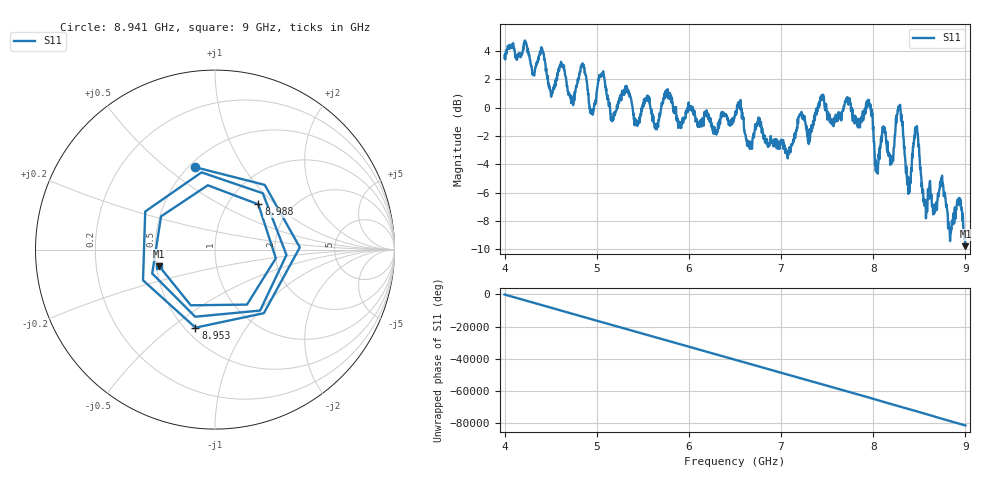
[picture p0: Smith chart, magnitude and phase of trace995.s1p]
! Created with skrf 1.8.0 (http://scikit-rf.org).
# Hz S RI R 50.0
!freq ReS11 ImS11
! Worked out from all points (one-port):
!   1601 points, 4 GHz to 9 GHz, reference 50 ohm
!   lowest |S11| = -9.8 dB at 9 GHz (marker M1), VSWR 1.96, Z = 25.9 - j5.35 ohm
!   |S11| at or under -10 dB: nowhere
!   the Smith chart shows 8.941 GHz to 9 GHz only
!   S11 on the Smith chart (normalised r, x): 8.941 GHz: 0.53, +0.63; 8.953 GHz: 0.56, -0.61; 8.988 GHz: 1.37, +0.79; 9 GHz: 0.52, -0.11
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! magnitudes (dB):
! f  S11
! 4 GHz  3.5
! 4.403 GHz  4.1
! 4.512 GHz  1.0
! 4.625 GHz  3.0
! 4.731 GHz  0.5
! 4.853 GHz  2.9
! 4.944 GHz  -0.4
! 5.05 GHz  2.4
! 5.169 GHz  -1.0
! 5.25 GHz  0.6
! 5.875 GHz  -0.9
! 6.5 GHz  -0.6
! 7.125 GHz  -2.6
! 7.438 GHz  0.7
! 7.75 GHz  0.3
! 7.966 GHz  0.0
! 8.044 GHz  -4.5
! 8.109 GHz  -1.3
! 8.203 GHz  -3.9
! 8.288 GHz  -0.1
! 8.375 GHz  -5.5
! 8.462 GHz  -1.5
! 8.562 GHz  -6.8
! 8.838 GHz  -8.6
! 8.941 GHz  -6.5
! 8.953 GHz  -7.0
! 8.988 GHz  -9.1
! 9 GHz  -9.8
